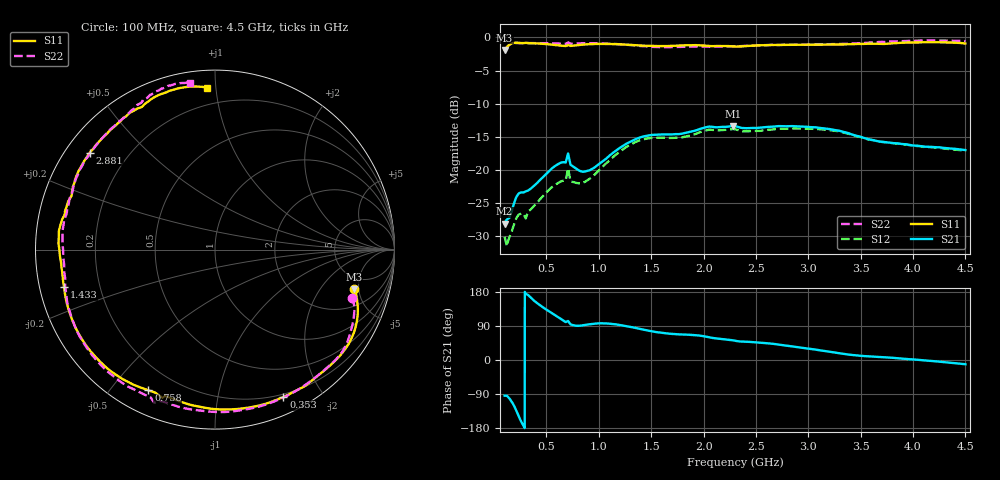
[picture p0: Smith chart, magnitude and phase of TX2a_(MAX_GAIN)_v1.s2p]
! Created Tue Apr 16 20:09:51 2013
# ghz S ma R 50
! 2 Port Network Data from SP1.SP block
! freq  magS11  angS11  magS21  angS21  magS12  angS12  magS22  angS22
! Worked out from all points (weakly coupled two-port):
!   4401 points, 100 MHz to 4.5 GHz, reference 50 ohm
!   highest |S21| = -13.35 dB at 2.278 GHz (marker M1); lowest = -28.1 dB at 100 MHz (marker M2)
!   lowest |S11| = -1.9 dB at 100 MHz (marker M3), VSWR 9.25, Z = 175 - j221 ohm
!   |S11| at or under -10 dB: nowhere
!   |S22| runs from -1.8 to -0.4 dB; largest |S21 - S12| = 0.041
!   S11 on the Smith chart (normalised r, x): 100 MHz: 3.51, -4.42; 353 MHz: 0.17, -1.55; 758 MHz: 0.10, -0.63; 1.433 GHz: 0.07, -0.12; 2.881 GHz: 0.07, +0.34; 4.5 GHz: 0.10, +0.95
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0.1  0.8049 -16.0  0.03935 -94.1  0.03128 -90.7  0.8084 -19.4
0.133  0.8635 -22.8  0.04294 -97.6  0.02904 -91.9  0.8632 -26.6
0.183  0.909 -34.1  0.05383 -117.1  0.03739 -111.1  0.9075 -37.9
0.235  0.9102 -44.9  0.06652 -148.8  0.04605 -150.6  0.9063 -47.5
0.302  0.9108 -56.5  0.06909 174.8  0.04301 160.8  0.9075 -59.6
0.353  0.9051 -65.1  0.07262 163.6  0.05071 149.1  0.9081 -67.4
0.494  0.8927 -86.5  0.09271 133.9  0.06694 120.2  0.9058 -87.7
0.599  0.8738 -100.0  0.1093 115.2  0.07868 105.0  0.9002 -100.6
0.697  0.8703 -109.2  0.1254 101.8  0.09503 91.4  0.9089 -110.8
0.758  0.8674 -115.3  0.1057 91.6  0.08094 90.3  0.8986 -116.3
0.834  0.8807 -122.4  0.09732 91.0  0.07928 91.7  0.9043 -123.4
1.11  0.8938 -146.1  0.1299 95.7  0.1197 96.0  0.8976 -145.8
1.433  0.8667 -166.2  0.1795 79.7  0.1708 78.3  0.8599 -166.2
1.567  0.8605 -172.2  0.1848 73.0  0.175 71.1  0.8476 -172.3
1.912  0.8757 173.3  0.1972 65.7  0.1856 65.3  0.8559 173.1
2.278  0.8564 160.5  0.215 52.0  0.2035 51.8  0.857 159.3
2.3  0.854 159.8  0.2142 50.7  0.2031 50.6  0.8559 158.4
2.881  0.8822 142.2  0.2136 34.7  0.2053 36.1  0.8826 137.8
3.034  0.8831 137.5  0.2106 28.9  0.2045 30.5  0.885 133.0
3.767  0.8993 116.1  0.161 6.5  0.1608 6.7  0.9305 113.3
4.181  0.921 102.9  0.1494 -2.7  0.1484 -3.2  0.9478 104.4
4.5  0.8996 92.7  0.1413 -11.2  0.1393 -11.7  0.9381 98.5
